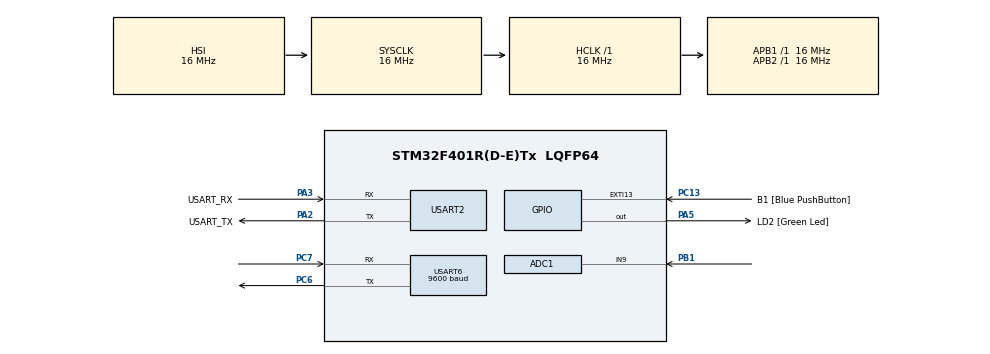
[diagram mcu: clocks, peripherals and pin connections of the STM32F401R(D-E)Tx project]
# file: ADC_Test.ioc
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ADC1.Channel-2\#ChannelRegularConversion=ADC_CHANNEL_9
ADC1.NbrOfConversionFlag=1
ADC1.Rank-2\#ChannelRegularConversion=1
ADC1.Resolution=ADC_RESOLUTION_8B
ADC1.SamplingTime-2\#ChannelRegularConversion=ADC_SAMPLETIME_15CYCLES
ADC1.ScanConvMode=ENABLE
ADC1.master=1
Mcu.Family=STM32F4
Mcu.Name=STM32F401R(D-E)Tx
Mcu.Package=LQFP64
NVIC.PriorityGroup=NVIC_PRIORITYGROUP_0
PA13.GPIO_Label=TMS
PA13.Mode=Serial_Wire
PA13.Signal=SYS_JTMS-SWDIO
PA14.GPIO_Label=TCK
PA14.Mode=Serial_Wire
PA14.Signal=SYS_JTCK-SWCLK
PA2.GPIO_Label=USART_TX
PA2.GPIO_Mode=GPIO_MODE_AF_PP
PA2.GPIO_PuPd=GPIO_NOPULL
PA2.GPIO_Speed=GPIO_SPEED_FREQ_LOW
PA2.Mode=Asynchronous
PA2.Signal=USART2_TX
PA3.GPIO_Label=USART_RX
PA3.GPIO_Mode=GPIO_MODE_AF_PP
PA3.GPIO_PuPd=GPIO_NOPULL
PA3.GPIO_Speed=GPIO_SPEED_FREQ_LOW
PA3.Mode=Asynchronous
PA3.Signal=USART2_RX
PA5.GPIO_Label=LD2 [Green Led]
PA5.GPIO_Mode=GPIO_MODE_OUTPUT_PP
PA5.GPIO_PuPd=GPIO_NOPULL
PA5.GPIO_Speed=GPIO_SPEED_FREQ_LOW
PA5.Signal=GPIO_Output
PB1.Signal=ADCx_IN9
PB3.GPIO_Label=SWO
PB3.Signal=SYS_JTDO-SWO
PC13-ANTI_TAMP.GPIO_Label=B1 [Blue PushButton]
PC13-ANTI_TAMP.GPIO_ModeDefaultEXTI=GPIO_MODE_IT_FALLING
PC13-ANTI_TAMP.GPIO_PuPd=GPIO_NOPULL
PC13-ANTI_TAMP.Signal=GPXTI13
PC14-OSC32_IN.Mode=LSE-External-Oscillator
PC14-OSC32_IN.Signal=RCC_OSC32_IN
PC15-OSC32_OUT.Mode=LSE-External-Oscillator
PC15-OSC32_OUT.Signal=RCC_OSC32_OUT
PC6.Mode=Asynchronous
PC6.Signal=USART6_TX
PC7.Mode=Asynchronous
PC7.Signal=USART6_RX
PH0\ -\ OSC_IN.Mode=HSE-External-Clock-Source
PH0\ -\ OSC_IN.Signal=RCC_OSC_IN
PH1\ -\ OSC_OUT.Mode=HSE-External-Clock-Source
PH1\ -\ OSC_OUT.Signal=RCC_OSC_OUT
ProjectManager.HeapSize=0x200
ProjectManager.StackSize=0x400
ProjectManager.TargetToolchain=STM32CubeIDE
RCC.48MHZClocksFreq_Value=48000000
RCC.AHBFreq_Value=16000000
RCC.APB1Freq_Value=16000000
RCC.APB1TimFreq_Value=16000000
RCC.APB2Freq_Value=16000000
RCC.APB2TimFreq_Value=16000000
RCC.CortexFreq_Value=16000000
RCC.HCLKFreq_Value=16000000
RCC.HSE_VALUE=8000000
RCC.HSI_VALUE=16000000
RCC.PLLN=336
RCC.PLLP=RCC_PLLP_DIV4
RCC.PLLQ=7
RCC.SYSCLKFreq_VALUE=16000000
RCC.VCOOutputFreq_Value=336000000
SH.ADCx_IN9.0=ADC1_IN9,IN9
USART2.VirtualMode=VM_ASYNC
USART6.BaudRate=9600
USART6.Mode=MODE_TX
USART6.VirtualMode=VM_ASYNC
board=NUCLEO-F401RE

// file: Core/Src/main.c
/* USER CODE BEGIN Header */
/**
  ******************************************************************************
  * @file           : main.c
  * @brief          : Main program body
  ******************************************************************************
  * @attention
  *
  * Copyright (c) 2023 STMicroelectronics.
  * All rights reserved.
  *
  * This software is licensed under terms that can be found in the LICENSE file
  * in the root directory of this software component.
  * If no LICENSE file comes with this software, it is provided AS-IS.
  *
  ******************************************************************************
  */
/* USER CODE END Header */
#include "main.h"

ADC_HandleTypeDef hadc1;

UART_HandleTypeDef huart2;
UART_HandleTypeDef huart6;

void SystemClock_Config(void);
static void MX_GPIO_Init(void);
static void MX_USART2_UART_Init(void);
static void MX_ADC1_Init(void);
static void MX_USART6_UART_Init(void);
/* USER CODE BEGIN PFP */
static void ADC_Select_CH(int CH);
/* USER CODE END PFP */

/* USER CODE BEGIN 0 */
void ADC_Select_CH(int CH) {
	ADC_ChannelConfTypeDef sConfig = {0};
	switch(CH)
	{
	case 0:
	sConfig.Channel = ADC_CHANNEL_0;
	sConfig.Rank = 1;
	if (HAL_ADC_ConfigChannel(&hadc1, &sConfig) != HAL_OK)
	{
	Error_Handler();
	}
	break;
	case 1:
	sConfig.Channel = ADC_CHANNEL_1;
	sConfig.Rank = 1;
	if (HAL_ADC_ConfigChannel(&hadc1, &sConfig) != HAL_OK)
	{
	Error_Handler();
	}
	break;
	case 2:
	sConfig.Channel = ADC_CHANNEL_2;
	sConfig.Rank = 1;
	if (HAL_ADC_ConfigChannel(&hadc1, &sConfig) != HAL_OK)
	{
	Error_Handler();
	}
	break;
	case 3:
	sConfig.Channel = ADC_CHANNEL_3;
	sConfig.Rank = 1;
	if (HAL_ADC_ConfigChannel(&hadc1, &sConfig) != HAL_OK)
	{
	Error_Handler();
	}
	break;
	case 4:
	sConfig.Channel = ADC_CHANNEL_4;
	sConfig.Rank = 1;
	if (HAL_ADC_ConfigChannel(&hadc1, &sConfig) != HAL_OK)
	{
	Error_Handler();
	}
	break;
	case 5:
	sConfig.Channel = ADC_CHANNEL_5;
	sConfig.Rank = 1;
	if (HAL_ADC_ConfigChannel(&hadc1, &sConfig) != HAL_OK)
	{
	Error_Handler();
	}
	break;
	case 6:
	sConfig.Channel = ADC_CHANNEL_6;
	sConfig.Rank = 1;
	if (HAL_ADC_ConfigChannel(&hadc1, &sConfig) != HAL_OK)
	{
	Error_Handler();
	}
	break;
	case 7:
	sConfig.Channel = ADC_CHANNEL_7;
	sConfig.Rank = 1;
	if (HAL_ADC_ConfigChannel(&hadc1, &sConfig) != HAL_OK)
	{
	Error_Handler();
	}
	break;
	case 8:
	sConfig.Channel = ADC_CHANNEL_8;
	sConfig.Rank = 1;
	if (HAL_ADC_ConfigChannel(&hadc1, &sConfig) != HAL_OK)
	{
	Error_Handler();
	}
	break;
	case 9:
	sConfig.Channel = ADC_CHANNEL_9;
	sConfig.Rank = 1;
	if (HAL_ADC_ConfigChannel(&hadc1, &sConfig) != HAL_OK)
	{
	Error_Handler();
	}
	break;
	case 10:
	sConfig.Channel = ADC_CHANNEL_10;
	sConfig.Rank = 1;
	if (HAL_ADC_ConfigChannel(&hadc1, &sConfig) != HAL_OK)
	{
	Error_Handler();
	}
	break;
	case 11:
	sConfig.Channel = ADC_CHANNEL_11;
	sConfig.Rank = 1;
	if (HAL_ADC_ConfigChannel(&hadc1, &sConfig) != HAL_OK)
	{
	Error_Handler();
	}
	break;
	case 12:
	sConfig.Channel = ADC_CHANNEL_12;
	sConfig.Rank = 1;
	if (HAL_ADC_ConfigChannel(&hadc1, &sConfig) != HAL_OK)
	{
	Error_Handler();
	}
	break;
	case 13:
	sConfig.Channel = ADC_CHANNEL_13;
	sConfig.Rank = 1;
	if (HAL_ADC_ConfigChannel(&hadc1, &sConfig) != HAL_OK)
	{
	Error_Handler();
	}
	break;
	case 14:
	sConfig.Channel = ADC_CHANNEL_14;
	sConfig.Rank = 1;
	if (HAL_ADC_ConfigChannel(&hadc1, &sConfig) != HAL_OK)
	{
	Error_Handler();
	}
	break;
	case 15:
	sConfig.Channel = ADC_CHANNEL_15;
	sConfig.Rank = 1;
	if (HAL_ADC_ConfigChannel(&hadc1, &sConfig) != HAL_OK)
	{
	Error_Handler();
	}
	break;
	}
}

/* USER CODE END 0 */

int main(void)
{
  /* USER CODE BEGIN 1 */
	uint8_t txd_msg_buffer[128] = {0};
  /* USER CODE END 1 */

  /* MCU Configuration--------------------------------------------------------*/

  /* Reset of all peripherals, Initializes the Flash interface and the Systick. */
  HAL_Init();

  /* Configure the system clock */
  SystemClock_Config();

  /* Initialize all configured peripherals */
  MX_GPIO_Init();
  MX_USART2_UART_Init();
  MX_ADC1_Init();
  MX_USART6_UART_Init();

  /* Infinite loop */
  while (1)
  {
	  ADC_Select_CH(9);
	  HAL_ADC_Start(&hadc1);
	  HAL_ADC_PollForConversion(&hadc1, 1000);
	  uint8_t ADC_CH9 = HAL_ADC_GetValue(&hadc1);
	  HAL_ADC_Stop(&hadc1);
	  sprintf((char*)txd_msg_buffer, "DIGITIZED ANALOG VALUE FOR CH9: %u\r\n", ADC_CH9);
	  HAL_UART_Transmit(&huart6,txd_msg_buffer, strlen((char*)txd_msg_buffer), 1000);
  }
}

void SystemClock_Config(void)
{
  RCC_OscInitTypeDef RCC_OscInitStruct = {0};
  RCC_ClkInitTypeDef RCC_ClkInitStruct = {0};

  /** Configure the main internal regulator output voltage
  */
  __HAL_RCC_PWR_CLK_ENABLE();
  __HAL_PWR_VOLTAGESCALING_CONFIG(PWR_REGULATOR_VOLTAGE_SCALE2);

  /** Initializes the RCC Oscillators according to the specified parameters
  * in the RCC_OscInitTypeDef structure.
  */
  RCC_OscInitStruct.OscillatorType = RCC_OSCILLATORTYPE_HSI;
  RCC_OscInitStruct.HSIState = RCC_HSI_ON;
  RCC_OscInitStruct.HSICalibrationValue = RCC_HSICALIBRATION_DEFAULT;
  RCC_OscInitStruct.PLL.PLLState = RCC_PLL_NONE;
  if (HAL_RCC_OscConfig(&RCC_OscInitStruct) != HAL_OK)
  {
    Error_Handler();
  }

  /** Initializes the CPU, AHB and APB buses clocks
  */
  RCC_ClkInitStruct.ClockType = RCC_CLOCKTYPE_HCLK|RCC_CLOCKTYPE_SYSCLK
                              |RCC_CLOCKTYPE_PCLK1|RCC_CLOCKTYPE_PCLK2;
  RCC_ClkInitStruct.SYSCLKSource = RCC_SYSCLKSOURCE_HSI;
  RCC_ClkInitStruct.AHBCLKDivider = RCC_SYSCLK_DIV1;
  RCC_ClkInitStruct.APB1CLKDivider = RCC_HCLK_DIV1;
  RCC_ClkInitStruct.APB2CLKDivider = RCC_HCLK_DIV1;

  if (HAL_RCC_ClockConfig(&RCC_ClkInitStruct, FLASH_LATENCY_0) != HAL_OK)
  {
    Error_Handler();
  }
}

static void MX_ADC1_Init(void)
{

  ADC_ChannelConfTypeDef sConfig = {0};

  /** Configure the global features of the ADC (Clock, Resolution, Data Alignment and number of conversion)
  */
  hadc1.Instance = ADC1;
  hadc1.Init.ClockPrescaler = ADC_CLOCK_SYNC_PCLK_DIV2;
  hadc1.Init.Resolution = ADC_RESOLUTION_8B;
  hadc1.Init.ScanConvMode = ENABLE;
  hadc1.Init.ContinuousConvMode = DISABLE;
  hadc1.Init.DiscontinuousConvMode = DISABLE;
  hadc1.Init.ExternalTrigConvEdge = ADC_EXTERNALTRIGCONVEDGE_NONE;
  hadc1.Init.ExternalTrigConv = ADC_SOFTWARE_START;
  hadc1.Init.DataAlign = ADC_DATAALIGN_RIGHT;
  hadc1.Init.NbrOfConversion = 1;
  hadc1.Init.DMAContinuousRequests = DISABLE;
  hadc1.Init.EOCSelection = ADC_EOC_SINGLE_CONV;
  if (HAL_ADC_Init(&hadc1) != HAL_OK)
  {
    Error_Handler();
  }

  /** Configure for the selected ADC regular channel its corresponding rank in the sequencer and its sample time.
  */
  sConfig.Channel = ADC_CHANNEL_9;
  sConfig.Rank = 1;
  sConfig.SamplingTime = ADC_SAMPLETIME_15CYCLES;
  if (HAL_ADC_ConfigChannel(&hadc1, &sConfig) != HAL_OK)
  {
    Error_Handler();
  }

}

static void MX_USART2_UART_Init(void)
{

  huart2.Instance = USART2;
  huart2.Init.BaudRate = 115200;
  huart2.Init.WordLength = UART_WORDLENGTH_8B;
  huart2.Init.StopBits = UART_STOPBITS_1;
  huart2.Init.Parity = UART_PARITY_NONE;
  huart2.Init.Mode = UART_MODE_TX_RX;
  huart2.Init.HwFlowCtl = UART_HWCONTROL_NONE;
  huart2.Init.OverSampling = UART_OVERSAMPLING_16;
  if (HAL_UART_Init(&huart2) != HAL_OK)
  {
    Error_Handler();
  }

}

static void MX_USART6_UART_Init(void)
{

  huart6.Instance = USART6;
  huart6.Init.BaudRate = 9600;
  huart6.Init.WordLength = UART_WORDLENGTH_8B;
  huart6.Init.StopBits = UART_STOPBITS_1;
  huart6.Init.Parity = UART_PARITY_NONE;
  huart6.Init.Mode = UART_MODE_TX;
  huart6.Init.HwFlowCtl = UART_HWCONTROL_NONE;
  huart6.Init.OverSampling = UART_OVERSAMPLING_16;
  if (HAL_UART_Init(&huart6) != HAL_OK)
  {
    Error_Handler();
  }

}

static void MX_GPIO_Init(void)
{
  GPIO_InitTypeDef GPIO_InitStruct = {0};

  /* GPIO Ports Clock Enable */
  __HAL_RCC_GPIOC_CLK_ENABLE();
  __HAL_RCC_GPIOH_CLK_ENABLE();
  __HAL_RCC_GPIOA_CLK_ENABLE();
  __HAL_RCC_GPIOB_CLK_ENABLE();

  /*Configure GPIO pin Output Level */
  HAL_GPIO_WritePin(LD2_GPIO_Port, LD2_Pin, GPIO_PIN_RESET);

  /*Configure GPIO pin : B1_Pin */
  GPIO_InitStruct.Pin = B1_Pin;
  GPIO_InitStruct.Mode = GPIO_MODE_IT_FALLING;
  GPIO_InitStruct.Pull = GPIO_NOPULL;
  HAL_GPIO_Init(B1_GPIO_Port, &GPIO_InitStruct);

  /*Configure GPIO pin : LD2_Pin */
  GPIO_InitStruct.Pin = LD2_Pin;
  GPIO_InitStruct.Mode = GPIO_MODE_OUTPUT_PP;
  GPIO_InitStruct.Pull = GPIO_NOPULL;
  GPIO_InitStruct.Speed = GPIO_SPEED_FREQ_LOW;
  HAL_GPIO_Init(LD2_GPIO_Port, &GPIO_InitStruct);

}

void Error_Handler(void)
{
  __disable_irq();
  while (1)
  {
  }
}
